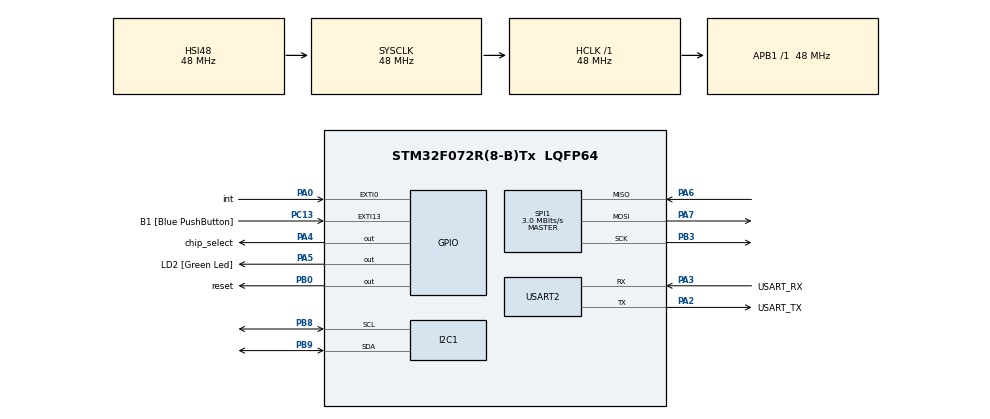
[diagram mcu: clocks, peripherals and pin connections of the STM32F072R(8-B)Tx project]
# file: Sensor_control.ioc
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I2C1.I2C_Rise_Time=500
I2C1.Timing=0x00501E26
Mcu.Family=STM32F0
Mcu.Name=STM32F072R(8-B)Tx
Mcu.Package=LQFP64
NVIC.EXTI0_1_IRQn=true\:3\:0\:true\:false\:true\:true\:false\:true
NVIC.TIM7_IRQn=true\:2\:0\:true\:false\:true\:true\:false\:true
PA0.GPIO_Label=int
PA0.GPIO_ModeDefaultEXTI=GPIO_MODE_IT_RISING_FALLING
PA0.Signal=GPXTI0
PA13.GPIO_Label=TMS
PA13.Mode=Serial_Wire
PA13.Signal=SYS_SWDIO
PA14.GPIO_Label=TCK
PA14.Mode=Serial_Wire
PA14.Signal=SYS_SWCLK
PA2.GPIO_Label=USART_TX
PA2.GPIO_Mode=GPIO_MODE_AF_PP
PA2.GPIO_PuPd=GPIO_NOPULL
PA2.GPIO_Speed=GPIO_SPEED_FREQ_LOW
PA2.Mode=Asynchronous
PA2.Signal=USART2_TX
PA3.GPIO_Label=USART_RX
PA3.GPIO_Mode=GPIO_MODE_AF_PP
PA3.GPIO_PuPd=GPIO_NOPULL
PA3.GPIO_Speed=GPIO_SPEED_FREQ_LOW
PA3.Mode=Asynchronous
PA3.Signal=USART2_RX
PA4.GPIO_Label=chip_select
PA4.Signal=GPIO_Output
PA5.GPIO_Label=LD2 [Green Led]
PA5.GPIO_Mode=GPIO_MODE_OUTPUT_PP
PA5.GPIO_PuPd=GPIO_NOPULL
PA5.GPIO_Speed=GPIO_SPEED_FREQ_LOW
PA5.Signal=GPIO_Output
PA6.Mode=Full_Duplex_Master
PA6.Signal=SPI1_MISO
PA7.Mode=Full_Duplex_Master
PA7.Signal=SPI1_MOSI
PB0.GPIO_Label=reset
PB0.PinState=GPIO_PIN_SET
PB0.Signal=GPIO_Output
PB3.Mode=Full_Duplex_Master
PB3.Signal=SPI1_SCK
PB8.Mode=I2C
PB8.Signal=I2C1_SCL
PB9.Mode=I2C
PB9.Signal=I2C1_SDA
PC13.GPIO_Label=B1 [Blue PushButton]
PC13.GPIO_ModeDefaultEXTI=GPIO_MODE_IT_FALLING
PC13.Signal=GPXTI13
PC14-OSC32_IN.Mode=LSE-External-Oscillator
PC14-OSC32_IN.Signal=RCC_OSC32_IN
PC15-OSC32_OUT.Mode=LSE-External-Oscillator
PC15-OSC32_OUT.Signal=RCC_OSC32_OUT
PF0-OSC_IN.Mode=HSE-External-Clock-Source
PF0-OSC_IN.Signal=RCC_OSC_IN
PF1-OSC_OUT.Signal=RCC_OSC_OUT
ProjectManager.HeapSize=0x200
ProjectManager.StackSize=0x400
ProjectManager.TargetToolchain=MDK-ARM V5.32
RCC.AHBFreq_Value=48000000
RCC.APB1Freq_Value=48000000
RCC.APB1TimFreq_Value=48000000
RCC.FLatency-AdvancedSettings=FLASH_LATENCY_1
RCC.HCLKFreq_Value=48000000
RCC.PLLDivider=RCC_PREDIV_DIV2
RCC.PLLMUL=RCC_PLL_MUL12
RCC.PREFETCH_ENABLE-AdvancedSettings=1
RCC.SYSCLKFreq_VALUE=48000000
RCC.SYSCLKSource=RCC_SYSCLKSOURCE_HSI48
SPI1.BaudRatePrescaler=SPI_BAUDRATEPRESCALER_16
SPI1.CalculateBaudRate=3.0 MBits/s
SPI1.DataSize=SPI_DATASIZE_8BIT
SPI1.Direction=SPI_DIRECTION_2LINES
SPI1.Mode=SPI_MODE_MASTER
SPI1.NSSPMode=SPI_NSS_PULSE_DISABLE
SPI1.VirtualType=VM_MASTER
TIM7.AutoReloadPreload=TIM_AUTORELOAD_PRELOAD_ENABLE
TIM7.Period=10000-1
TIM7.Prescaler=4800
USART2.VirtualMode=VM_ASYNC
USART2.VirtualMode-Asynchronous=VM_ASYNC
VP_TIM7_VS_ClockSourceINT.Mode=Enable_Timer
board=NUCLEO-F072RB

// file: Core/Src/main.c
/* USER CODE BEGIN Header */
/**
  ******************************************************************************
  * @file           : main.c
  * @brief          : Main program body
  ******************************************************************************
  * @attention
  *
  * Copyright (c) 2026 STMicroelectronics.
  * All rights reserved.
  *
  * This software is licensed under terms that can be found in the LICENSE file
  * in the root directory of this software component.
  * If no LICENSE file comes with this software, it is provided AS-IS.
  *
  ******************************************************************************
  */
/* USER CODE END Header */
#include "main.h"

/* USER CODE BEGIN Includes */
#include <stdio.h>
#include "rc522_control.h"
/* USER CODE END Includes */

I2C_HandleTypeDef hi2c1;

SPI_HandleTypeDef hspi1;

TIM_HandleTypeDef htim7;

UART_HandleTypeDef huart2;

/* USER CODE BEGIN PV */
uint8_t uid[5];
/* USER CODE END PV */

void SystemClock_Config(void);
static void MX_GPIO_Init(void);
static void MX_USART2_UART_Init(void);
static void MX_I2C1_Init(void);
static void MX_TIM7_Init(void);
static void MX_SPI1_Init(void);

int main(void)
{

  /* MCU Configuration--------------------------------------------------------*/

  /* Reset of all peripherals, Initializes the Flash interface and the Systick. */
  HAL_Init();

  /* Configure the system clock */
  SystemClock_Config();

  /* Initialize all configured peripherals */
  MX_GPIO_Init();
  MX_USART2_UART_Init();
  MX_I2C1_Init();
  MX_TIM7_Init();
  MX_SPI1_Init();
  /* USER CODE BEGIN 2 */
	printf("sensor control\n\r");

	RC522_Init();
	uint8_t version = RC522_ReadReg(0x37);
	printf("RC522 version %02x\n\r",version);
  /* USER CODE END 2 */

  /* Infinite loop */
  /* USER CODE BEGIN WHILE */
  while (1)
  {
		if(RC522_ReadUID(uid) == MI_OK){
			printf("UID: %02x %02x %02x %02x\n\r",uid[0],uid[1],uid[2],uid[3]);
			HAL_Delay(500);
		}

		HAL_Delay(500);
    /* USER CODE END WHILE */

  }
}

void SystemClock_Config(void)
{
  RCC_OscInitTypeDef RCC_OscInitStruct = {0};
  RCC_ClkInitTypeDef RCC_ClkInitStruct = {0};
  RCC_PeriphCLKInitTypeDef PeriphClkInit = {0};

  /** Initializes the RCC Oscillators according to the specified parameters
  * in the RCC_OscInitTypeDef structure.
  */
  RCC_OscInitStruct.OscillatorType = RCC_OSCILLATORTYPE_HSI|RCC_OSCILLATORTYPE_HSI48;
  RCC_OscInitStruct.HSIState = RCC_HSI_ON;
  RCC_OscInitStruct.HSI48State = RCC_HSI48_ON;
  RCC_OscInitStruct.HSICalibrationValue = RCC_HSICALIBRATION_DEFAULT;
  RCC_OscInitStruct.PLL.PLLState = RCC_PLL_NONE;
  if (HAL_RCC_OscConfig(&RCC_OscInitStruct) != HAL_OK)
  {
    Error_Handler();
  }

  /** Initializes the CPU, AHB and APB buses clocks
  */
  RCC_ClkInitStruct.ClockType = RCC_CLOCKTYPE_HCLK|RCC_CLOCKTYPE_SYSCLK
                              |RCC_CLOCKTYPE_PCLK1;
  RCC_ClkInitStruct.SYSCLKSource = RCC_SYSCLKSOURCE_HSI48;
  RCC_ClkInitStruct.AHBCLKDivider = RCC_SYSCLK_DIV1;
  RCC_ClkInitStruct.APB1CLKDivider = RCC_HCLK_DIV1;

  if (HAL_RCC_ClockConfig(&RCC_ClkInitStruct, FLASH_LATENCY_1) != HAL_OK)
  {
    Error_Handler();
  }
  PeriphClkInit.PeriphClockSelection = RCC_PERIPHCLK_USART2|RCC_PERIPHCLK_I2C1;
  PeriphClkInit.Usart2ClockSelection = RCC_USART2CLKSOURCE_PCLK1;
  PeriphClkInit.I2c1ClockSelection = RCC_I2C1CLKSOURCE_HSI;
  if (HAL_RCCEx_PeriphCLKConfig(&PeriphClkInit) != HAL_OK)
  {
    Error_Handler();
  }
}

static void MX_I2C1_Init(void)
{

  /* USER CODE BEGIN I2C1_Init 1 */
  hi2c1.Instance = I2C1;
  hi2c1.Init.Timing = 0xb0420f13;
  /* USER CODE END I2C1_Init 1 */
  hi2c1.Instance = I2C1;
  hi2c1.Init.Timing = 0x00501E26;
  hi2c1.Init.OwnAddress1 = 0;
  hi2c1.Init.AddressingMode = I2C_ADDRESSINGMODE_7BIT;
  hi2c1.Init.DualAddressMode = I2C_DUALADDRESS_DISABLE;
  hi2c1.Init.OwnAddress2 = 0;
  hi2c1.Init.OwnAddress2Masks = I2C_OA2_NOMASK;
  hi2c1.Init.GeneralCallMode = I2C_GENERALCALL_DISABLE;
  hi2c1.Init.NoStretchMode = I2C_NOSTRETCH_DISABLE;
  if (HAL_I2C_Init(&hi2c1) != HAL_OK)
  {
    Error_Handler();
  }

  /** Configure Analogue filter
  */
  if (HAL_I2CEx_ConfigAnalogFilter(&hi2c1, I2C_ANALOGFILTER_ENABLE) != HAL_OK)
  {
    Error_Handler();
  }

  /** Configure Digital filter
  */
  if (HAL_I2CEx_ConfigDigitalFilter(&hi2c1, 0) != HAL_OK)
  {
    Error_Handler();
  }

}

static void MX_SPI1_Init(void)
{

  /* SPI1 parameter configuration*/
  hspi1.Instance = SPI1;
  hspi1.Init.Mode = SPI_MODE_MASTER;
  hspi1.Init.Direction = SPI_DIRECTION_2LINES;
  hspi1.Init.DataSize = SPI_DATASIZE_8BIT;
  hspi1.Init.CLKPolarity = SPI_POLARITY_LOW;
  hspi1.Init.CLKPhase = SPI_PHASE_1EDGE;
  hspi1.Init.NSS = SPI_NSS_SOFT;
  hspi1.Init.BaudRatePrescaler = SPI_BAUDRATEPRESCALER_16;
  hspi1.Init.FirstBit = SPI_FIRSTBIT_MSB;
  hspi1.Init.TIMode = SPI_TIMODE_DISABLE;
  hspi1.Init.CRCCalculation = SPI_CRCCALCULATION_DISABLE;
  hspi1.Init.CRCPolynomial = 7;
  hspi1.Init.CRCLength = SPI_CRC_LENGTH_DATASIZE;
  hspi1.Init.NSSPMode = SPI_NSS_PULSE_DISABLE;
  if (HAL_SPI_Init(&hspi1) != HAL_OK)
  {
    Error_Handler();
  }
  /* USER CODE BEGIN SPI1_Init 2 */
	SPI1->CR2 |= 0x1ul<<2 | 0x1ul<<6;
	SPI1->CR1 |= 0x1ul<<6;
  /* USER CODE END SPI1_Init 2 */

}

static void MX_TIM7_Init(void)
{

  TIM_MasterConfigTypeDef sMasterConfig = {0};

  htim7.Instance = TIM7;
  htim7.Init.Prescaler = 4800;
  htim7.Init.CounterMode = TIM_COUNTERMODE_UP;
  htim7.Init.Period = 10000-1;
  htim7.Init.AutoReloadPreload = TIM_AUTORELOAD_PRELOAD_ENABLE;
  if (HAL_TIM_Base_Init(&htim7) != HAL_OK)
  {
    Error_Handler();
  }
  sMasterConfig.MasterOutputTrigger = TIM_TRGO_RESET;
  sMasterConfig.MasterSlaveMode = TIM_MASTERSLAVEMODE_DISABLE;
  if (HAL_TIMEx_MasterConfigSynchronization(&htim7, &sMasterConfig) != HAL_OK)
  {
    Error_Handler();
  }
  /* USER CODE BEGIN TIM7_Init 2 */
	TIM7->CR1 |= 0x1ul;
	TIM7->DIER |= 0x1ul;
  /* USER CODE END TIM7_Init 2 */

}

static void MX_USART2_UART_Init(void)
{

  huart2.Instance = USART2;
  huart2.Init.BaudRate = 38400;
  huart2.Init.WordLength = UART_WORDLENGTH_8B;
  huart2.Init.StopBits = UART_STOPBITS_1;
  huart2.Init.Parity = UART_PARITY_NONE;
  huart2.Init.Mode = UART_MODE_TX_RX;
  huart2.Init.HwFlowCtl = UART_HWCONTROL_NONE;
  huart2.Init.OverSampling = UART_OVERSAMPLING_16;
  huart2.Init.OneBitSampling = UART_ONE_BIT_SAMPLE_DISABLE;
  huart2.AdvancedInit.AdvFeatureInit = UART_ADVFEATURE_NO_INIT;
  if (HAL_UART_Init(&huart2) != HAL_OK)
  {
    Error_Handler();
  }

}

static void MX_GPIO_Init(void)
{
  GPIO_InitTypeDef GPIO_InitStruct = {0};

  /* GPIO Ports Clock Enable */
  __HAL_RCC_GPIOC_CLK_ENABLE();
  __HAL_RCC_GPIOF_CLK_ENABLE();
  __HAL_RCC_GPIOA_CLK_ENABLE();
  __HAL_RCC_GPIOB_CLK_ENABLE();

  /*Configure GPIO pin Output Level */
  HAL_GPIO_WritePin(GPIOA, chip_select_Pin|LD2_Pin, GPIO_PIN_RESET);

  /*Configure GPIO pin Output Level */
  HAL_GPIO_WritePin(reset_GPIO_Port, reset_Pin, GPIO_PIN_SET);

  /*Configure GPIO pin : B1_Pin */
  GPIO_InitStruct.Pin = B1_Pin;
  GPIO_InitStruct.Mode = GPIO_MODE_IT_FALLING;
  GPIO_InitStruct.Pull = GPIO_NOPULL;
  HAL_GPIO_Init(B1_GPIO_Port, &GPIO_InitStruct);

  /*Configure GPIO pin : int_Pin */
  GPIO_InitStruct.Pin = int_Pin;
  GPIO_InitStruct.Mode = GPIO_MODE_IT_RISING_FALLING;
  GPIO_InitStruct.Pull = GPIO_NOPULL;
  HAL_GPIO_Init(int_GPIO_Port, &GPIO_InitStruct);

  /*Configure GPIO pins : chip_select_Pin LD2_Pin */
  GPIO_InitStruct.Pin = chip_select_Pin|LD2_Pin;
  GPIO_InitStruct.Mode = GPIO_MODE_OUTPUT_PP;
  GPIO_InitStruct.Pull = GPIO_NOPULL;
  GPIO_InitStruct.Speed = GPIO_SPEED_FREQ_LOW;
  HAL_GPIO_Init(GPIOA, &GPIO_InitStruct);

  /*Configure GPIO pin : reset_Pin */
  GPIO_InitStruct.Pin = reset_Pin;
  GPIO_InitStruct.Mode = GPIO_MODE_OUTPUT_PP;
  GPIO_InitStruct.Pull = GPIO_NOPULL;
  GPIO_InitStruct.Speed = GPIO_SPEED_FREQ_LOW;
  HAL_GPIO_Init(reset_GPIO_Port, &GPIO_InitStruct);

  /* EXTI interrupt init*/
  HAL_NVIC_SetPriority(EXTI0_1_IRQn, 3, 0);
  HAL_NVIC_EnableIRQ(EXTI0_1_IRQn);

}

void Error_Handler(void)
{
  __disable_irq();
  while (1)
  {
  }
}
